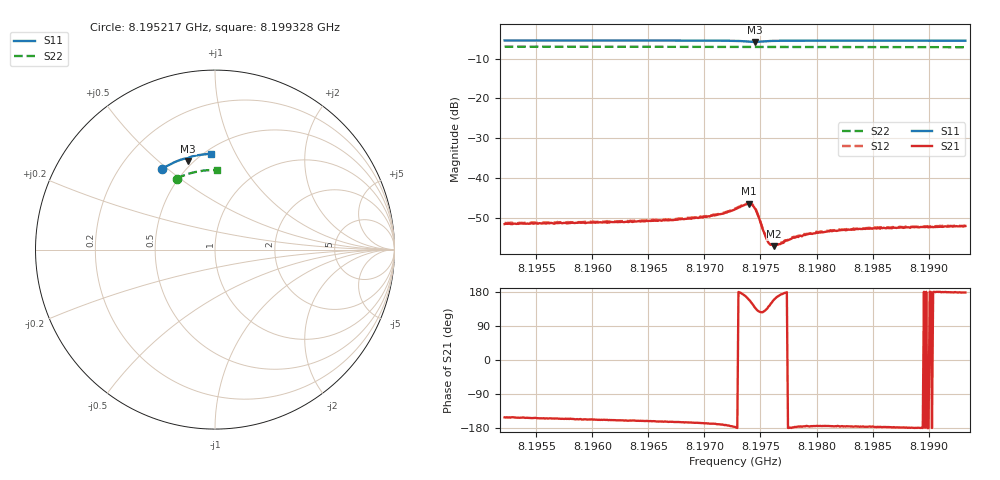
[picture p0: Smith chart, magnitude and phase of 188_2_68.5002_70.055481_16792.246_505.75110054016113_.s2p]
#  HZ  S  RI  R  50.00
! Rohde & Schwarz Vector Network Analyzer
! Rohde-Schwarz,ZNB20-2Port,1311601062101988,3.16
! Created: UTC 3/20/2024, 5:12:07 PM
! freq[Hz]  re:S11  im:S11  re:S21  im:S21  re:S12  im:S12  re:S22  im:S22
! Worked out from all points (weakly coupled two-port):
!   401 points, 8.195217 GHz to 8.199328 GHz, reference 50 ohm
!   highest |S21| = -46.51 dB at 8.197396 GHz (marker M1); lowest = -57.2 dB at 8.197622 GHz (marker M2)
!   lowest |S11| = -5.8 dB at 8.197447 GHz (marker M3), VSWR 3.13, Z = 23.5 + j31.5 ohm
!   |S11| at or under -10 dB: nowhere
!   |S22| runs from -7.1 to -6.9 dB; largest |S21 - S12| = 0.00026
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8.1952169e9  -0.2959 0.4488  -0.0023 -0.00126  -0.00242 -0.00124  -0.2127 0.3958
8.1959056e9  -0.2536 0.4735  -0.00252 -0.00106  -0.00258 -0.00102  -0.1773 0.4117
8.1965943e9  -0.2086 0.494  -0.00278 -0.000874  -0.00288 -0.000794  -0.1408 0.4243
8.1967382e9  -0.1987 0.4979  -0.00285 -0.000834  -0.00294 -0.000735  -0.1328 0.4267
8.1970466e9  -0.1763 0.5051  -0.0032 -0.000681  -0.0033 -0.00059  -0.1161 0.431
8.1971802e9  -0.1653 0.5074  -0.00358 -0.00052  -0.00367 -0.000402  -0.1087 0.4326
8.1972727e9  -0.1564 0.5076  -0.00402 -0.000227  -0.00411 -3.1e-05  -0.1036 0.4336
8.1973652e9  -0.1468 0.5031  -0.00454 0.000895  -0.00459 0.00106  -0.0984 0.4346
8.1973961e9  -0.1453 0.4992  -0.00443 0.00164  -0.00445 0.00183  -0.0967 0.4348
8.1974269e9  -0.1464 0.4949  -0.00387 0.00241  -0.00384 0.00264  -0.0951 0.435
8.1974475e9  -0.1491 0.4933  -0.00319 0.00273  -0.00316 0.00288  -0.094 0.4351
8.1974783e9  -0.1534 0.4945  -0.00214 0.00259  -0.00208 0.00271  -0.0926 0.4355
8.1975297e9  -0.1555 0.5012  -0.00129 0.00165  -0.00121 0.00173  -0.0898 0.436
8.1975605e9  -0.154 0.5049  -0.00117 0.00114  -0.00115 0.0012  -0.088 0.4364
8.1975914e9  -0.1519 0.5078  -0.00123 0.000746  -0.0012 0.000794  -0.0864 0.437
8.1976222e9  -0.1492 0.5102  -0.0013 0.00048  -0.00131 0.00055  -0.0845 0.4371
8.1976839e9  -0.1442 0.5134  -0.00148 0.000175  -0.00152 0.000239  -0.0812 0.4377
8.1977867e9  -0.1357 0.5168  -0.00176 -6.39e-05  -0.00179 8.04e-06  -0.0754 0.4386
8.1979614e9  -0.1223 0.5207  -0.00196 -0.00018  -0.00205 -0.000106  -0.0656 0.4399
8.1982287e9  -0.1027 0.525  -0.0022 -0.000211  -0.00225 -0.000115  -0.0505 0.4415
8.1986501e9  -0.0725 0.5296  -0.00233 -0.000116  -0.00238 -3.47e-05  -0.0264 0.4427
8.1993285e9  -0.0243 0.5333  -0.00248 8.3e-05  -0.00248 0.000209  0.012 0.4421
